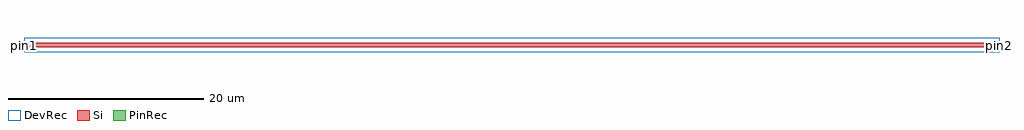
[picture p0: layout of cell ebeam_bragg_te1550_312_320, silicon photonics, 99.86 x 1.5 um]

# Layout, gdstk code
import gdstk
lib = gdstk.Library(unit=1e-6, precision=1e-09)
def R(c, l, rs):  # rectangles x0, y0, x1, y1
    for r in rs: c.add(gdstk.rectangle(r[:2], r[2:], *l))
def A(c, l, x, y, w, h, nx, ny, dx, dy):  # array of equal rectangles
    R(c, l, [(x+i*dx, y+j*dy, x+i*dx+w, y+j*dy+h) for i in range(nx) for j in range(ny)])
Si = (1, 0)
PinRec = (1, 10)
DevRec = (68, 0)

ebeam_bragg_te1550_312_3 = lib.new_cell('ebeam_bragg_te1550_312_320')
A(ebeam_bragg_te1550_312_3, Si, 0, -0.255, 0.16, 0.255, 312, 2, 0.32, 0.255)
A(ebeam_bragg_te1550_312_3, Si, 0.16, -0.245, 0.16, 0.245, 312, 2, 0.32, 0.245)
R(ebeam_bragg_te1550_312_3, DevRec, [(0,-0.75,99.84,0.75)])
ebeam_bragg_te1550_312_3.add(gdstk.FlexPath([(0.01,0),(-0.01,0)], 0.5, ends="flush", simple_path=True, layer=1, datatype=10))  # PinRec
ebeam_bragg_te1550_312_3.add(gdstk.FlexPath([(99.83,0),(99.85,0)], 0.5, ends="flush", simple_path=True, layer=1, datatype=10))  # PinRec
ebeam_bragg_te1550_312_3.add(gdstk.Label('pin1', (0,0), layer=1, texttype=10))
ebeam_bragg_te1550_312_3.add(gdstk.Label('pin2', (99.84,0), layer=1, texttype=10))
ebeam_bragg_te1550_312_3.add(gdstk.Label('Lumerical_INTERCONNECT_library=Design kits/ebeam', (0,0), layer=68, texttype=0))
ebeam_bragg_te1550_312_3.add(gdstk.Label('Component=ebeam_bragg_te1550', (9.984,0), layer=68, texttype=0))
ebeam_bragg_te1550_312_3.add(gdstk.Label('Spice_param:number_of_periods=312 grating_period=3.2e-07 corrugation_width=1e-08 misalignment=0 sinusoidal=0', (11.093,0), layer=68, texttype=0))

lib.write_gds('ebeam_bragg_te1550_312_320.gds')
